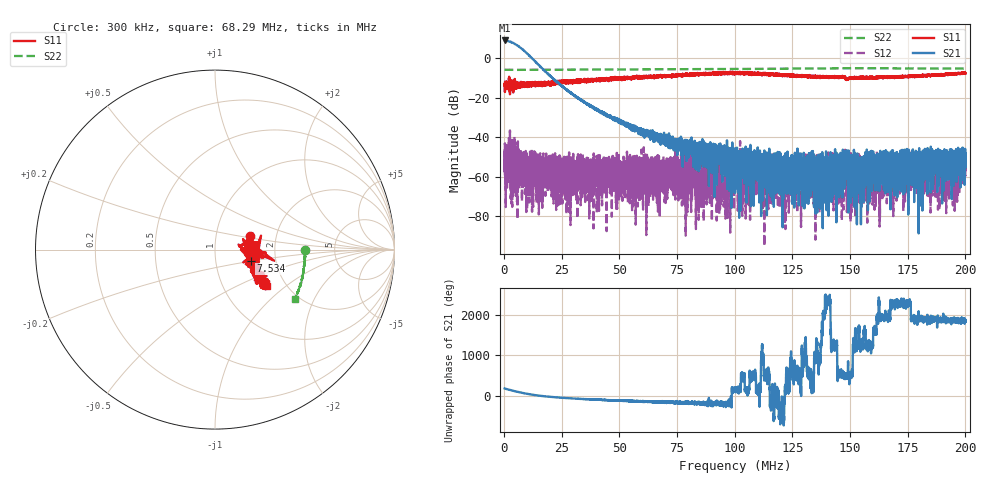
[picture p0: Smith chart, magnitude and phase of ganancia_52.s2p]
# Hz S DB R 50
! CMT, M5065, 19127446, 24.2.4/2
! Date: 11/8/2024 6:46:58 PM
! Data: Format (Calibration Info)
! Freq	S11:dB/Ang(F2)	S21:dB/Ang(F2)	S12:dB/Ang(F2)	S22:dB/Ang(F2)
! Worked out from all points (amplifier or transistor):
!   9000 points, 300 kHz to 200 MHz, reference 50 ohm
!   highest |S21| = 8.9 dB at 300 kHz (marker M1)
!   |S21| within 3 dB of that: start of sweep to 6.391 MHz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
!   unconditionally stable (mu >= 1): start of sweep to end of sweep
!   at 33.59 MHz: K = 10254.16, MAG = -19.6 dB, |S12| = -68.3 dB
!   at 100.2 MHz: K = 171186.37, MAG = -51.7 dB, |S12| = -61.3 dB
!   at 200 MHz: K = 52284.34, MAG = -46.0 dB, |S12| = -56.7 dB
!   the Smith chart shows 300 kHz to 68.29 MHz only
!   S11 on the Smith chart (normalised r, x): 300 kHz: 1.47, +0.24; 7.534 MHz: 1.48, -0.19; 68.29 MHz: 1.61, -0.74
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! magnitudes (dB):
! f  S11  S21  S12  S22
! 300 kHz  -13.5  8.9  -46.9  -6.0
! 3.163 MHz  -13.8  8.0  -50.7  -6.0
! 7.534 MHz  -13.6  4.9  -62.6  -6.0
! 10.69 MHz  -13.8  1.6  -51.9  -6.0
! 12.19 MHz  -13.4  -0.1  -77.8  -6.0
! 16.06 MHz  -12.9  -4.6  -52.8  -6.0
! 20.47 MHz  -13.1  -9.6  -55.7  -5.9
! 22.49 MHz  -12.4  -11.6  -60.7  -5.9
! 33.59 MHz  -11.7  -21.2  -68.3  -5.9
! 66.87 MHz  -9.2  -41.5  -60.1  -5.7
! 68.29 MHz  -9.0  -40.2  -54.0  -5.7
! 100.2 MHz  -7.6  -53.9  -61.3  -5.6
! 112 MHz  -8.1  -67.4  -54.4  -5.5
! 119.3 MHz  -8.6  -57.0  -51.3  -5.4
! 121.3 MHz  -8.8  -66.3  -56.0  -5.4
! 133.4 MHz  -9.2  -50.2  -58.5  -5.3
! 142.4 MHz  -9.6  -60.3  -57.7  -5.2
! 146.2 MHz  -9.7  -58.5  -55.8  -5.2
! 148.3 MHz  -10.7  -50.8  -50.0  -5.2
! 150.9 MHz  -10.1  -57.4  -67.3  -5.2
! 166.7 MHz  -9.9  -56.4  -52.8  -5.2
! 200 MHz  -8.0  -48.2  -56.7  -5.4
